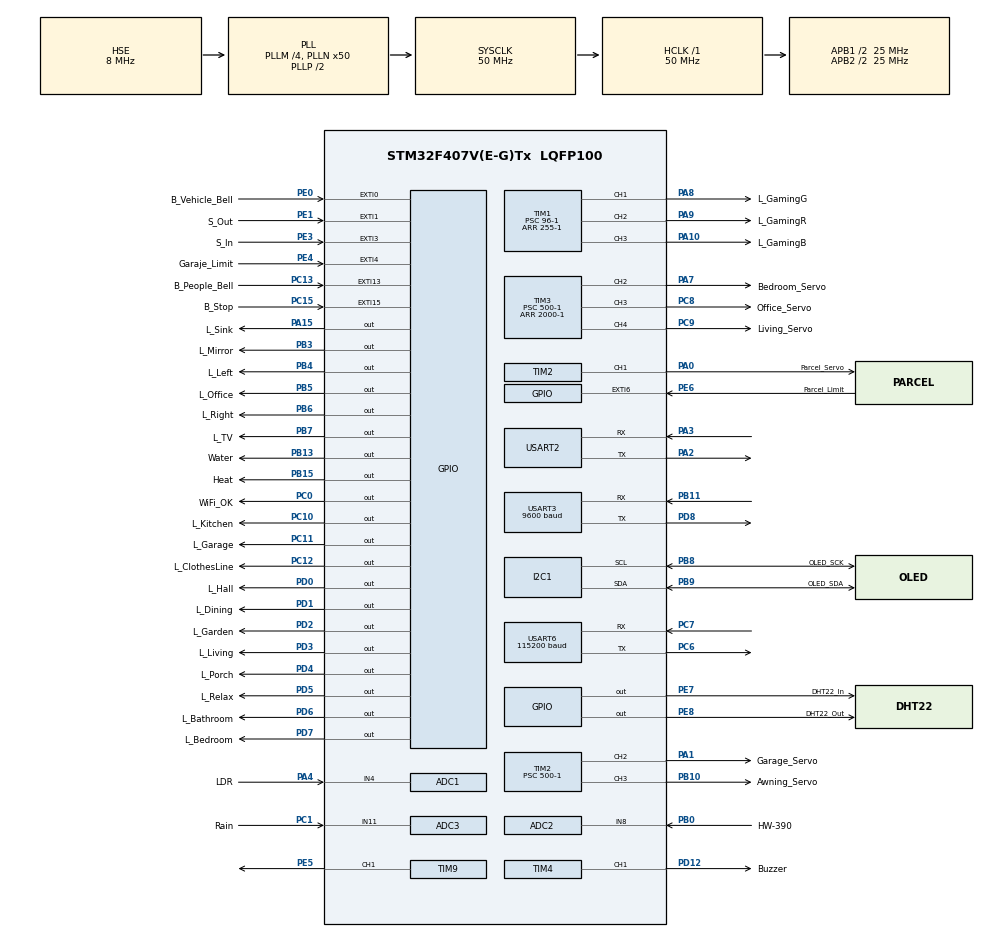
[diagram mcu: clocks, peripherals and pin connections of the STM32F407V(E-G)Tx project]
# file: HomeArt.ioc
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ADC1.Channel-1\#ChannelRegularConversion=ADC_CHANNEL_4
ADC1.ContinuousConvMode=ENABLE
ADC1.EOCSelection=ADC_EOC_SEQ_CONV
ADC1.NbrOfConversionFlag=1
ADC1.Rank-1\#ChannelRegularConversion=1
ADC1.Resolution=ADC_RESOLUTION_8B
ADC1.SamplingTime-1\#ChannelRegularConversion=ADC_SAMPLETIME_480CYCLES
ADC1.ScanConvMode=ENABLE
ADC1.master=1
ADC2.Channel-0\#ChannelRegularConversion=ADC_CHANNEL_8
ADC2.EOCSelection=ADC_EOC_SEQ_CONV
ADC2.NbrOfConversionFlag=1
ADC2.Rank-0\#ChannelRegularConversion=1
ADC2.Resolution=ADC_RESOLUTION_8B
ADC2.SamplingTime-0\#ChannelRegularConversion=ADC_SAMPLETIME_480CYCLES
ADC3.Channel-0\#ChannelRegularConversion=ADC_CHANNEL_11
ADC3.EOCSelection=ADC_EOC_SEQ_CONV
ADC3.NbrOfConversionFlag=1
ADC3.Rank-0\#ChannelRegularConversion=1
ADC3.Resolution=ADC_RESOLUTION_8B
ADC3.SamplingTime-0\#ChannelRegularConversion=ADC_SAMPLETIME_480CYCLES
I2C1.I2C_Mode=I2C_Fast
Mcu.Family=STM32F4
Mcu.Name=STM32F407V(E-G)Tx
Mcu.Package=LQFP100
NVIC.EXTI0_IRQn=true\:0\:0\:false\:false\:true\:true\:true
NVIC.EXTI15_10_IRQn=true\:0\:0\:false\:false\:true\:true\:true
NVIC.EXTI1_IRQn=true\:0\:0\:false\:false\:true\:true\:true
NVIC.EXTI3_IRQn=true\:0\:0\:false\:false\:true\:true\:true
NVIC.EXTI4_IRQn=true\:0\:0\:false\:false\:true\:true\:true
NVIC.EXTI9_5_IRQn=true\:0\:0\:false\:false\:true\:true\:true
NVIC.PriorityGroup=NVIC_PRIORITYGROUP_0
NVIC.USART2_IRQn=true\:0\:0\:false\:false\:true\:true\:true
NVIC.USART6_IRQn=true\:0\:0\:false\:false\:true\:true\:true
PA0-WKUP.GPIO_Label=Parcel_Servo
PA0-WKUP.Signal=S_TIM2_CH1_ETR
PA1.GPIO_Label=Garage_Servo
PA1.Signal=S_TIM2_CH2
PA10.GPIO_Label=L_GamingB
PA10.Signal=S_TIM1_CH3
PA13.Mode=Serial_Wire
PA13.Signal=SYS_JTMS-SWDIO
PA14.Mode=Serial_Wire
PA14.Signal=SYS_JTCK-SWCLK
PA15.GPIO_Label=L_Sink
PA15.Signal=GPIO_Output
PA2.Mode=Asynchronous
PA2.Signal=USART2_TX
PA3.Mode=Asynchronous
PA3.Signal=USART2_RX
PA4.GPIO_Label=LDR
PA4.Signal=ADCx_IN4
PA7.GPIO_Label=Bedroom_Servo
PA7.Signal=S_TIM3_CH2
PA8.GPIO_Label=L_GamingG
PA8.Signal=S_TIM1_CH1
PA9.GPIO_Label=L_GamingR
PA9.Signal=S_TIM1_CH2
PB0.GPIO_Label=HW-390
PB0.Signal=ADCx_IN8
PB10.GPIO_Label=Awning_Servo
PB10.Signal=S_TIM2_CH3
PB11.Mode=Asynchronous
PB11.Signal=USART3_RX
PB13.GPIO_Label=Water
PB13.Signal=GPIO_Output
PB15.GPIO_Label=Heat
PB15.Signal=GPIO_Output
PB3.GPIO_Label=L_Mirror
PB3.Signal=GPIO_Output
PB4.GPIO_Label=L_Left
PB4.Signal=GPIO_Output
PB5.GPIO_Label=L_Office
PB5.Signal=GPIO_Output
PB6.GPIO_Label=L_Right
PB6.Signal=GPIO_Output
PB7.GPIO_Label=L_TV
PB7.Signal=GPIO_Output
PB8.GPIO_Label=OLED_SCK
PB8.Mode=I2C
PB8.Signal=I2C1_SCL
PB9.GPIO_Label=OLED_SDA
PB9.Mode=I2C
PB9.Signal=I2C1_SDA
PC0.GPIO_Label=WiFi_OK
PC0.Signal=GPIO_Output
PC1.GPIO_Label=Rain
PC1.Signal=ADCx_IN11
PC10.GPIO_Label=L_Kitchen
PC10.Signal=GPIO_Output
PC11.GPIO_Label=L_Garage
PC11.Signal=GPIO_Output
PC12.GPIO_Label=L_ClothesLine
PC12.Signal=GPIO_Output
PC13-ANTI_TAMP.GPIO_Label=B_People_Bell
PC13-ANTI_TAMP.Signal=GPXTI13
PC15-OSC32_OUT.GPIO_Label=B_Stop
PC15-OSC32_OUT.Signal=GPXTI15
PC6.Mode=Asynchronous
PC6.Signal=USART6_TX
PC7.Mode=Asynchronous
PC7.Signal=USART6_RX
PC8.GPIO_Label=Office_Servo
PC8.Signal=S_TIM3_CH3
PC9.GPIO_Label=Living_Servo
PC9.Signal=S_TIM3_CH4
PD0.GPIO_Label=L_Hall
PD0.Signal=GPIO_Output
PD1.GPIO_Label=L_Dining
PD1.Signal=GPIO_Output
PD12.GPIO_Label=Buzzer
PD12.Signal=S_TIM4_CH1
PD2.GPIO_Label=L_Garden
PD2.Signal=GPIO_Output
PD3.GPIO_Label=L_Living
PD3.Signal=GPIO_Output
PD4.GPIO_Label=L_Porch
PD4.Signal=GPIO_Output
PD5.GPIO_Label=L_Relax
PD5.Signal=GPIO_Output
PD6.GPIO_Label=L_Bathroom
PD6.Signal=GPIO_Output
PD7.GPIO_Label=L_Bedroom
PD7.Signal=GPIO_Output
PD8.Mode=Asynchronous
PD8.Signal=USART3_TX
PE0.GPIO_Label=B_Vehicle_Bell
PE0.GPIO_ModeDefaultEXTI=GPIO_MODE_IT_RISING
PE0.GPIO_PuPd=GPIO_NOPULL
PE0.Signal=GPXTI0
PE1.GPIO_Label=S_Out
PE1.GPIO_ModeDefaultEXTI=GPIO_MODE_IT_FALLING
PE1.GPIO_PuPd=GPIO_PULLUP
PE1.Signal=GPXTI1
PE3.GPIO_Label=S_In
PE3.GPIO_ModeDefaultEXTI=GPIO_MODE_IT_FALLING
PE3.GPIO_PuPd=GPIO_PULLUP
PE3.Signal=GPXTI3
PE4.GPIO_Label=Garaje_Limit
PE4.GPIO_ModeDefaultEXTI=GPIO_MODE_IT_FALLING
PE4.GPIO_PuPd=GPIO_PULLUP
PE4.Signal=GPXTI4
PE5.Signal=S_TIM9_CH1
PE6.GPIO_Label=Parcel_Limit
PE6.GPIO_ModeDefaultEXTI=GPIO_MODE_IT_FALLING
PE6.GPIO_PuPd=GPIO_PULLUP
PE6.Signal=GPXTI6
PE7.GPIO_Label=DHT22_In
PE7.Signal=GPIO_Output
PE8.GPIO_Label=DHT22_Out
PE8.Signal=GPIO_Output
PH0-OSC_IN.Mode=HSE-External-Oscillator
PH0-OSC_IN.Signal=RCC_OSC_IN
PH1-OSC_OUT.Mode=HSE-External-Oscillator
PH1-OSC_OUT.Signal=RCC_OSC_OUT
ProjectManager.HeapSize=0x200
ProjectManager.StackSize=0x400
ProjectManager.TargetToolchain=STM32CubeIDE
RCC.48MHZClocksFreq_Value=14285714.285714285
RCC.AHBFreq_Value=50000000
RCC.APB1CLKDivider=RCC_HCLK_DIV2
RCC.APB1Freq_Value=25000000
RCC.APB1TimFreq_Value=50000000
RCC.APB2CLKDivider=RCC_HCLK_DIV2
RCC.APB2Freq_Value=25000000
RCC.APB2TimFreq_Value=50000000
RCC.CortexFreq_Value=50000000
RCC.HCLKFreq_Value=50000000
RCC.HSE_VALUE=8000000
RCC.HSI_VALUE=16000000
RCC.LSE_VALUE=32768
RCC.PLLM=4
RCC.PLLN=50
RCC.PLLQ=7
RCC.PLLSourceVirtual=RCC_PLLSOURCE_HSE
RCC.SYSCLKFreq_VALUE=50000000
RCC.SYSCLKSource=RCC_SYSCLKSOURCE_PLLCLK
RCC.VCOOutputFreq_Value=100000000
SH.ADCx_IN11.0=ADC3_IN11,IN11
SH.ADCx_IN4.0=ADC1_IN4,IN4
SH.ADCx_IN8.0=ADC2_IN8,IN8
SH.S_TIM1_CH1.0=TIM1_CH1,PWM Generation1 CH1
SH.S_TIM1_CH2.0=TIM1_CH2,PWM Generation2 CH2
SH.S_TIM1_CH3.0=TIM1_CH3,PWM Generation3 CH3
SH.S_TIM2_CH1_ETR.0=TIM2_CH1,PWM Generation1 CH1
SH.S_TIM2_CH2.0=TIM2_CH2,PWM Generation2 CH2
SH.S_TIM2_CH3.0=TIM2_CH3,PWM Generation3 CH3
SH.S_TIM3_CH2.0=TIM3_CH2,PWM Generation2 CH2
SH.S_TIM3_CH3.0=TIM3_CH3,PWM Generation3 CH3
SH.S_TIM3_CH4.0=TIM3_CH4,PWM Generation4 CH4
SH.S_TIM4_CH1.0=TIM4_CH1,PWM Generation1 CH1
SH.S_TIM9_CH1.0=TIM9_CH1,PWM Generation1 CH1
TIM1.Channel-PWM\ Generation1\ CH1=TIM_CHANNEL_1
TIM1.Channel-PWM\ Generation2\ CH2=TIM_CHANNEL_2
TIM1.Channel-PWM\ Generation3\ CH3=TIM_CHANNEL_3
TIM1.Period=255-1
TIM1.Prescaler=96-1
TIM2.Channel-PWM\ Generation1\ CH1=TIM_CHANNEL_1
TIM2.Channel-PWM\ Generation2\ CH2=TIM_CHANNEL_2
TIM2.Channel-PWM\ Generation3\ CH3=TIM_CHANNEL_3
TIM2.Period=2000-1
TIM2.Prescaler=500-1
TIM3.Channel-PWM\ Generation2\ CH2=TIM_CHANNEL_2
TIM3.Channel-PWM\ Generation3\ CH3=TIM_CHANNEL_3
TIM3.Channel-PWM\ Generation4\ CH4=TIM_CHANNEL_4
TIM3.Period=2000-1
TIM3.Prescaler=500-1
TIM4.Channel-PWM\ Generation1\ CH1=TIM_CHANNEL_1
TIM4.Period=20
TIM4.Prescaler=96-1
TIM5.Period=2000-1
TIM5.Prescaler=96-1
TIM6.Period=0xffff-1
TIM6.Prescaler=50-1
TIM9.Channel-PWM\ Generation1\ CH1=TIM_CHANNEL_1
TIM9.Period=2000-1
TIM9.Prescaler=500-1
USART2.VirtualMode=VM_ASYNC
USART3.BaudRate=9600
USART3.VirtualMode=VM_ASYNC
USART6.BaudRate=115200
USART6.VirtualMode=VM_ASYNC
VP_TIM1_VS_ClockSourceINT.Mode=Internal
VP_TIM2_VS_ClockSourceINT.Mode=Internal
VP_TIM3_VS_ClockSourceINT.Mode=Internal
VP_TIM4_VS_ClockSourceINT.Mode=Internal
VP_TIM5_VS_ClockSourceINT.Mode=Internal
VP_TIM6_VS_ClockSourceINT.Mode=Enable_Timer
VP_TIM8_VS_ClockSourceINT.Mode=Internal
VP_TIM9_VS_ClockSourceINT.Mode=Internal
board=STM32F407G-DISC1

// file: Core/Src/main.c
/* USER CODE BEGIN Header */
/**
  ******************************************************************************
  * @file           : main.c
  * @brief          : Main program body
  ******************************************************************************
  * @attention
  *
  * <h2><center>&copy; Copyright (c) 2022 STMicroelectronics.
  * All rights reserved.</center></h2>
  *
  * This software component is licensed by ST under Ultimate Liberty license
  * SLA0044, the "License"; You may not use this file except in compliance with
  * the License. You may obtain a copy of the License at:
  *                             www.st.com/SLA0044
  *
  *---------------------------------- HOMEART ----------------------------------
  *
  ******************************************************************************
  */
/* USER CODE END Header */
#include "main.h"

/* USER CODE BEGIN Includes */
#include "Buzzer.h"
#include "ESP8266_HAL.h"
#include "LED.h"
#include "RH.h"
#include "SG90.h"
#include "DHT22.h"
#include "Temperature.h"
#include "gfx.h"
#include "fonts.h"
#include "ssd1306.h"
#include "RFID.h"
#include "LDR.h"

/* USER CODE END Includes */

/* USER CODE BEGIN PD */
#define WiFi_UART &huart2
#define PC_UART &huart6
/* USER CODE END PD */

ADC_HandleTypeDef hadc1;
ADC_HandleTypeDef hadc2;
ADC_HandleTypeDef hadc3;

I2C_HandleTypeDef hi2c1;

TIM_HandleTypeDef htim1;
TIM_HandleTypeDef htim2;
TIM_HandleTypeDef htim3;
TIM_HandleTypeDef htim4;
TIM_HandleTypeDef htim5;
TIM_HandleTypeDef htim6;
TIM_HandleTypeDef htim8;
TIM_HandleTypeDef htim9;

UART_HandleTypeDef huart2;
UART_HandleTypeDef huart3;
UART_HandleTypeDef huart6;

/* USER CODE BEGIN PV */

volatile int doorbell = 0;
volatile int stop = 0;
volatile int inside = 0;
volatile int outside = 0;

volatile float f_on = 0; 		// Fan ON
volatile float f_off = 0; 		// Fan OFF
volatile float h_on = 0; 		// Heat ON
volatile float h_off = 0; 		// Heat OFF

volatile int rh_min = 0;
volatile int rh_max = 0;

volatile int awning = 0; 		// 1=unfolded 	0=folded
volatile int parcel = 0; 		// 1=opened 	0=closed
volatile int garage = 0; 		// 1=opened 	0=closed
volatile int office = 0; 		// 1=up 		0=down
volatile int bedroom = 0; 		// 1=up 		0=down

volatile int water = 0; 		// 1=on 		0=off
volatile int fan = 0; 			// 1=on 		0=off
volatile int heat = 0; 			// 1=on 		0=off

/*----------- Sensors -----------*/

// Brightness Sensor (LDR)
uint16_t LDR_value = 0;

// Hygrometer (HW-390)
uint16_t Hygro_read = 0;
uint16_t Hygro = 0;

// Rain Sensor
uint16_t Rain_read = 0;
uint16_t Rain = 0;

// Humidity and Temperature Sensor (outside, units, DHT22)
DHT22_DataTypedef DHT22_outside;
int TempOutside = 0;
int RHOutside = 0;

// Humidity and Temperature Sensor (inside, decimals, DHT22)
DHT22_DataTypedef DHT22_inside;
float TempInside = 0;
float RHInside = 0;

/* USER CODE END PV */

void SystemClock_Config(void);
static void MX_GPIO_Init(void);
static void MX_USART2_UART_Init(void);
static void MX_USART6_UART_Init(void);
static void MX_TIM5_Init(void);
static void MX_TIM1_Init(void);
static void MX_TIM4_Init(void);
static void MX_TIM2_Init(void);
static void MX_TIM3_Init(void);
static void MX_TIM8_Init(void);
static void MX_TIM9_Init(void);
static void MX_TIM6_Init(void);
static void MX_ADC1_Init(void);
static void MX_ADC2_Init(void);
static void MX_ADC3_Init(void);
static void MX_USART3_UART_Init(void);
static void MX_I2C1_Init(void);

/* USER CODE BEGIN 0 */

void HAL_GPIO_EXTI_Callback(uint16_t GPIO_Pin){

    if (GPIO_Pin==S_In_Pin)
    {
        inside = 1;
    }
    if (GPIO_Pin==S_Out_Pin)
    {
        outside = 1;
    }
}

int debouncer(volatile int* button_int, GPIO_TypeDef* GPIO_port, uint16_t GPIO_number){ // Bounce Control

	static uint8_t button_count=0;
	static int counter=0;

	if (*button_int==1)
	{
		if (button_count==0)
		{
			counter=HAL_GetTick();
			button_count++;
		}
		if (HAL_GetTick()-counter>=20)
		{
			counter=HAL_GetTick();
			if (HAL_GPIO_ReadPin(GPIO_port, GPIO_number)!=1)
			{
				button_count=1;
			}
			else
			{
				button_count++;
			}
			if (button_count==4 ) // Debounce Period
			{
				button_count=0;
				*button_int=0;
				return 1;
			}
		}
	}
	return 0;
}

/*----------- Delay (ms) -----------*/
void delay(uint16_t time){

	__HAL_TIM_SET_COUNTER(&htim6,0);
	while((__HAL_TIM_GET_COUNTER(&htim6))<time);
}

/* USER CODE END 0 */

int main(void)
{

  /* MCU Configuration--------------------------------------------------------*/

  /* Reset of all peripherals, Initializes the Flash interface and the Systick. */
  HAL_Init();

  /* Configure the system clock */
  SystemClock_Config();

  /* Initialize all configured peripherals */
  MX_GPIO_Init();
  MX_USART2_UART_Init();
  MX_USART6_UART_Init();
  MX_TIM5_Init();
  MX_TIM1_Init();
  MX_TIM4_Init();
  MX_TIM2_Init();
  MX_TIM3_Init();
  MX_TIM8_Init();
  MX_TIM9_Init();
  MX_TIM6_Init();
  MX_ADC1_Init();
  MX_ADC2_Init();
  MX_ADC3_Init();
  MX_USART3_UART_Init();
  MX_I2C1_Init();
  /* USER CODE BEGIN 2 */

  // RGB Gaming LED
  HAL_TIM_PWM_Start(&htim1, TIM_CHANNEL_1);
  HAL_TIM_PWM_Start(&htim1, TIM_CHANNEL_2);
  HAL_TIM_PWM_Start(&htim1, TIM_CHANNEL_3);

  // Parcel Servo
  HAL_TIM_PWM_Start(&htim2, TIM_CHANNEL_1);

  // Garage Servo
  HAL_TIM_PWM_Start(&htim2, TIM_CHANNEL_2);

  // Awning Servo
  HAL_TIM_PWM_Start(&htim2, TIM_CHANNEL_3);

  // Living Room Servo
  HAL_TIM_PWM_Start(&htim3, TIM_CHANNEL_4);

  // Bedroom Servo
  HAL_TIM_PWM_Start(&htim3, TIM_CHANNEL_2);

  // Office Servo
  HAL_TIM_PWM_Start(&htim3, TIM_CHANNEL_3);

  // Living Room DC Motor
  HAL_TIM_PWM_Start(&htim9, TIM_CHANNEL_1);

  // Buzzer
  HAL_TIM_PWM_Start(&htim4, TIM_CHANNEL_1);

  /*----------- DHT22 Sensor-----------*/
  HAL_TIM_Base_Start(&htim6);

  /*----------- LDR & HW390 & Rain Initialization  -----------*/
  HAL_ADC_Start(&hadc1); // LDR
  HAL_ADC_Start(&hadc2); // HW-390
  HAL_ADC_Start(&hadc3); // Rain

  //__HAL_UART_ENABLE_IT(&huart2, UART_IT_RXNE);
  ESP_Init("iPhone Carmela","pistacho");

  // OLED Thermostat
  oled_init(); // Initialize OLED

  // Frame
  line_h(0, 127, 1, 2, 1);
  line_h(0, 127, 30, 2, 1);
  line_v(0, 31, 1, 2, 1);
  line_v(0, 31, 127, 2, 1);

  // Line
  line_h(5, 122, 15, 1, 1);

  graphics_text(7, 5, FONT_SEVEN_DOT, "IN");
  graphics_text(7, 19, FONT_SEVEN_DOT, "OUT");

  oled_update(); // Update OLED

  /* USER CODE END 2 */

  /* Infinite loop */
  while (1){

    /* USER CODE BEGIN 3 */

	  	ESP_messageHandler();

		// Vehicle Doorbell
		if(HAL_GPIO_ReadPin(GPIOE, GPIO_PIN_0) == 0){

			//int known;
			//known = readRFID();
			if(readRFID() == 1){
				char kn[15] = "OPENING DOOR \n\n";
				HAL_UART_Transmit(&huart6, (uint8_t *) kn, 15, HAL_MAX_DELAY);

				actParcelRFID();
			}
			else if(readRFID() == 0){
				char unkn[19] = "CALLING THE BELL \n\n";
				HAL_UART_Transmit(&huart6, (uint8_t *) unkn, 19, HAL_MAX_DELAY);

				playBell();
			}
		}

		// People Doorbell
		if(HAL_GPIO_ReadPin(GPIOC, GPIO_PIN_13) == 0){

				playBell();
		}

		// Alarm Stop
		if(HAL_GPIO_ReadPin(GPIOC, GPIO_PIN_15) == 0){

			__HAL_TIM_SET_COMPARE(&htim4, TIM_CHANNEL_1, 0);
		}

		// Alarm
		if (debouncer(&inside, S_In_GPIO_Port, S_In_Pin)){

			if(vSecurity[0] == '1') playAlarm();
		}
		if (debouncer(&outside, S_Out_GPIO_Port, S_Out_Pin)){

			if(vSecurity[1] == '1') playAlarm();
		}

		// PARCEL DOOR (90)
		if(vWindow[0]=='1' || vOutside[4]=='1') __HAL_TIM_SET_COMPARE(&htim2, TIM_CHANNEL_1, 86);
		if(vWindow[0]=='0' || vOutside[4]=='0') __HAL_TIM_SET_COMPARE(&htim2, TIM_CHANNEL_1, 94);

		// GARAGE DOOR (90)
		if(vWindow[1]=='1' || vGarage[1] == '1') __HAL_TIM_SET_COMPARE(&htim2, TIM_CHANNEL_2, 92); // Faster at 30
		if(vWindow[1]=='0' || vGarage[1] == '0') __HAL_TIM_SET_COMPARE(&htim2, TIM_CHANNEL_2, 96);

		// PARCEL LIMIT SWITCH
		if(HAL_GPIO_ReadPin(GPIOE, GPIO_PIN_4) == 0){

			if (vWindow[0]=='1' || vOutside[4]=='1'){
				__HAL_TIM_SET_COMPARE(&htim2, TIM_CHANNEL_1, 94); // Parcel Servo
				HAL_Delay(200);
			}
			if (vWindow[0]=='0' || vOutside[4]=='0'){
				__HAL_TIM_SET_COMPARE(&htim2, TIM_CHANNEL_1, 86); // Parcel Servo
				HAL_Delay(200);
			}
			__HAL_TIM_SET_COMPARE(&htim2, TIM_CHANNEL_1, 90); // Parcel Servo
			vWindow[0]='x'; // Parcel Servo
			vOutside[4]='x'; // Parcel Servo
		}

		// GARAGE LIMIT SWITCH
		if(HAL_GPIO_ReadPin(GPIOE, GPIO_PIN_4) == 0){

			if (vWindow[1]=='1' || vGarage[1]=='1'){
				__HAL_TIM_SET_COMPARE(&htim2, TIM_CHANNEL_2, 96); // Garage Servo
				HAL_Delay(400);
			}
			if (vWindow[1]=='0' || vGarage[1]=='0'){
				__HAL_TIM_SET_COMPARE(&htim2, TIM_CHANNEL_2, 92); // Garage Servo
				HAL_Delay(400);
			}
			__HAL_TIM_SET_COMPARE(&htim2, TIM_CHANNEL_2, 94); // Garage Servo
			vWindow[1]='x'; // Garage Servo
			vGarage[1]='x'; // Garage Servo
		}

		// CLOTHES LINE AWNING (90)
		if(vOutside[0]=='1'){
			__HAL_TIM_SET_COMPARE(&htim2, TIM_CHANNEL_3, 91);
			HAL_Delay(1400);
			__HAL_TIM_SET_COMPARE(&htim2, TIM_CHANNEL_3, 90);
			awning = 1;
		}
		if(vOutside[0]=='0'){
			__HAL_TIM_SET_COMPARE(&htim2, TIM_CHANNEL_3, 88);
			HAL_Delay(1650);
			__HAL_TIM_SET_COMPARE(&htim2, TIM_CHANNEL_3, 90);
			awning = 0;
		}
		vOutside[0]='x';

		// LIVING ROOM WINDOW (90)
		/*if(vWindow[2]=='1' || vLiving[5]=='1') {
			__HAL_TIM_SET_COMPARE(&htim3, TIM_CHANNEL_4, 91);
			HAL_Delay(3000);
			__HAL_TIM_SET_COMPARE(&htim3, TIM_CHANNEL_4, 90);
		}
		if(vWindow[2]=='0'|| vLiving[5]=='0') {
			__HAL_TIM_SET_COMPARE(&htim3, TIM_CHANNEL_4, 89);
			HAL_Delay(3000);
			__HAL_TIM_SET_COMPARE(&htim3, TIM_CHANNEL_4, 90);
		}
		vWindow[2]='x';
		vLiving[5]='x';*/

		// BEDROOM WINDOW (90)
		if(vWindow[3]=='1' || vBedroom[3]=='1') {
			__HAL_TIM_SET_COMPARE(&htim3, TIM_CHANNEL_2, 94);// 92
			HAL_Delay(6000);
			__HAL_TIM_SET_COMPARE(&htim3, TIM_CHANNEL_2, 90);//90
		}
		if(vWindow[3]=='0' || vBedroom[3]=='0') {
			__HAL_TIM_SET_COMPARE(&htim3, TIM_CHANNEL_2, 86);// 89
			HAL_Delay(6000);
			__HAL_TIM_SET_COMPARE(&htim3, TIM_CHANNEL_2, 90);// 90
		}
		vWindow[3]='x';
		vBedroom[3]='x';

		// OFFICE WINDOW (90)
		if(vWindow[4]=='1' || vOffice[11]=='1') {
			__HAL_TIM_SET_COMPARE(&htim3, TIM_CHANNEL_3, 86);//91
			HAL_Delay(7000);
			__HAL_TIM_SET_COMPARE(&htim3, TIM_CHANNEL_3, 90);//90
		}
		if(vWindow[4]=='0' || vOffice[11]=='0') {
			__HAL_TIM_SET_COMPARE(&htim3, TIM_CHANNEL_3, 92);//88
			HAL_Delay(4500);
			__HAL_TIM_SET_COMPARE(&htim3, TIM_CHANNEL_3, 90);//90
		}
		vWindow[4]='x';
		vOffice[11]='x';

		// SETTINGS
		f_on = temp_value(vSettings[0], vSettings[1], vSettings[2]);
		f_off = temp_value(vSettings[3], vSettings[4], vSettings[5]);
		h_on = temp_value(vSettings[6], vSettings[7], vSettings[8]);
		h_off = temp_value(vSettings[9], vSettings[10], vSettings[11]);

		rh_min = rh_value(vSettings[12], vSettings[13]);
		rh_max = rh_value(vSettings[14], vSettings[15]);

		/*----------- Sensor Reading -----------*/

		// LDR
		if(HAL_ADC_PollForConversion(&hadc1, HAL_MAX_DELAY) == HAL_OK)
			LDR_value = HAL_ADC_GetValue(&hadc1);

		ldr(LDR_value);

		// Rain
		if(HAL_ADC_PollForConversion(&hadc3, HAL_MAX_DELAY) == HAL_OK)
			Rain_read = HAL_ADC_GetValue(&hadc3);

		Rain = 100 - ((100*Rain_read)/255);

		if(vOutside[5] == '1'){
			// There are clothes and it is raining (closed awning)
			if (Rain>5 && vOutside[6] == '1' && awning == 0){

				__HAL_TIM_SET_COMPARE(&htim2, TIM_CHANNEL_3, 91); // Open awning
				HAL_Delay(3000);
				__HAL_TIM_SET_COMPARE(&htim2, TIM_CHANNEL_3, 90);
				awning = 1;
			}

			// There are clothes and it is raining (opened awning)
			// There are not clothes and it is raining (closed awning)

			// There are not clothes and it is raining (opened awning)
			else if (Rain>5 && vOutside[6] == '0' && awning == 1){

				__HAL_TIM_SET_COMPARE(&htim2, TIM_CHANNEL_3, 88); // Close awning
				HAL_Delay(3000);
				__HAL_TIM_SET_COMPARE(&htim2, TIM_CHANNEL_3, 90);
				awning = 0;
			}

			// There are clothes and it is not raining (awning does not matter)
			// There are not clothes and it is not raining (awning does not matter)

			vOutside[0]='x';
		}

		// HW-390
		if(HAL_ADC_PollForConversion(&hadc2, HAL_MAX_DELAY) == HAL_OK)
			Hygro_read = HAL_ADC_GetValue(&hadc2);

		Hygro = 100 - ((100*Hygro_read)/255);

		/*if(vGarden[1] == '1'){
			// It is turned off and it do not reach the minimum RH or it is turned on and it do not reach the maximum RH
			if (((!HAL_GPIO_ReadPin(GPIOB, GPIO_PIN_13)) && (Hygro<rh_min)) || ((HAL_GPIO_ReadPin(GPIOB, GPIO_PIN_13)) && (Hygro<rh_max))){
				HAL_GPIO_WritePin(GPIOB, GPIO_PIN_13, SET); // Water
			}
			else HAL_GPIO_WritePin(GPIOB, GPIO_PIN_13, RESET); // Water
		}*/

		//DHT22
		if(readDHT != 0){

		  	// Inside
		  	DHT22_getData(&DHT22_inside);
		  	RHInside = DHT22_inside.Humidity;
		  	TempInside = DHT22_inside.Temperature;

		    int in_rh_unit = RHInside;
		    int in_rh_dec = (RHInside-in_rh_unit)*10;
		    char c_in_rh_unit[2];
		    char c_in_rh_dec[1];
		    itoa(in_rh_unit, c_in_rh_unit, 10);
		    itoa(in_rh_dec, c_in_rh_dec, 10);

		    int in_temp_unit = TempInside;
		    int in_temp_dec = (TempInside-in_temp_unit)*10;
		    char c_in_temp_unit[2];
		    char c_in_temp_dec[1];
		    itoa(in_temp_unit, c_in_temp_unit, 10);
		    itoa(in_temp_dec, c_in_temp_dec, 10);

		    clear();

		    // Frame
		    line_h(0, 127, 1, 2, 1);
		    line_h(0, 127, 30, 2, 1);
		    line_v(0, 31, 1, 2, 1);
		    line_v(0, 31, 127, 2, 1);

		    // Line
		    line_h(5, 122, 15, 1, 1);

		    graphics_text(7, 5, FONT_SEVEN_DOT, "IN");
		    graphics_text(7, 19, FONT_SEVEN_DOT, "OUT");

		    // Data
		    graphics_text(44, 6, FONT_SIX_DOT, "RH      .");
		    graphics_text(56, 6, FONT_SIX_DOT, c_in_rh_unit);
		    graphics_text(68, 6, FONT_SIX_DOT, c_in_rh_dec);
		    graphics_text(75, 6, FONT_SIX_DOT, "%");

		    graphics_text(90, 6, FONT_SIX_DOT, "T      .");
		    graphics_text(98, 6, FONT_SIX_DOT, c_in_temp_unit);
		    graphics_text(110, 6, FONT_SIX_DOT, c_in_temp_dec);
		    graphics_text(117, 6, FONT_SIX_DOT, "C");

			// Exterior
			DHT22_getData(&DHT22_outside);
		  	RHOutside = DHT22_outside.Humidity;
		  	TempOutside = DHT22_outside.Temperature;

		    int out_rh_unit = RHOutside;
		    char c_out_rh_unit[2];
		    itoa(out_rh_unit, c_out_rh_unit, 10);

		    int out_temp_unit = TempOutside;
		    char c_out_temp_unit[2];
		    itoa(out_temp_unit, c_out_temp_unit, 10);

		    graphics_text(44, 20, FONT_SIX_DOT, "RH      .0 %");
		    graphics_text(56, 20, FONT_SIX_DOT, c_out_rh_unit);

		    graphics_text(90, 20, FONT_SIX_DOT, "T      .0 C");
		    graphics_text(98, 20, FONT_SIX_DOT, c_out_temp_unit);

		    oled_update(); // Update OLED

		  	readDHT = 0;
		}

		if(vWeather[2] == '1'){
			// Fan is turned off and it reach the maximum temperature or it is turned off and it does not reach the minimum temperature
			if ((!fan && (TempInside>f_on)) || (fan && (TempInside>f_off))){
				__HAL_TIM_SET_COMPARE(&htim3, TIM_CHANNEL_4, 30); 	// Living Room Fan
				fan = 1;
			}
			else{
				__HAL_TIM_SET_COMPARE(&htim3, TIM_CHANNEL_4, 90); 	// Living Room Fan
				fan = 0;
			}

			// Heat is turned off and it does not reach the minimum temperature or it is turned on and it does not reach the maximum temperature
			if ((!heat && (TempInside<h_on)) || (heat && (TempInside<h_off))){
				HAL_GPIO_WritePin(GPIOB, GPIO_PIN_15, SET); 	// Heat
				heat = 1;
			}
			else{
				HAL_GPIO_WritePin(GPIOB, GPIO_PIN_15, RESET); 	// Heat
				heat = 0;
			}
		}

		if(vWeather[2] == '0'){
			if(vWeather[0] == '0'){
				__HAL_TIM_SET_COMPARE(&htim3, TIM_CHANNEL_4, 90);	// Fan
				fan = 0;
			}
			else if(vWeather[0] == '1'){
				__HAL_TIM_SET_COMPARE(&htim3, TIM_CHANNEL_4, 30);
				fan = 1;
			}

			if(vWeather[1] == '0'){
				HAL_GPIO_WritePin(GPIOB, GPIO_PIN_15, RESET);		// Heat
				heat = 0;
			}
			else if(vWeather[1] == '1'){
				HAL_GPIO_WritePin(GPIOB, GPIO_PIN_15, SET);
				heat = 1;
			}
		}
  }
  /* USER CODE END 3 */
}

void SystemClock_Config(void)
{
  RCC_OscInitTypeDef RCC_OscInitStruct = {0};
  RCC_ClkInitTypeDef RCC_ClkInitStruct = {0};

  /** Configure the main internal regulator output voltage
  */
  __HAL_RCC_PWR_CLK_ENABLE();
  __HAL_PWR_VOLTAGESCALING_CONFIG(PWR_REGULATOR_VOLTAGE_SCALE1);
  /** Initializes the RCC Oscillators according to the specified parameters
  * in the RCC_OscInitTypeDef structure.
  */
  RCC_OscInitStruct.OscillatorType = RCC_OSCILLATORTYPE_HSE;
  RCC_OscInitStruct.HSEState = RCC_HSE_ON;
  RCC_OscInitStruct.PLL.PLLState = RCC_PLL_ON;
  RCC_OscInitStruct.PLL.PLLSource = RCC_PLLSOURCE_HSE;
  RCC_OscInitStruct.PLL.PLLM = 4;
  RCC_OscInitStruct.PLL.PLLN = 50;
  RCC_OscInitStruct.PLL.PLLP = RCC_PLLP_DIV2;
  RCC_OscInitStruct.PLL.PLLQ = 7;
  if (HAL_RCC_OscConfig(&RCC_OscInitStruct) != HAL_OK)
  {
    Error_Handler();
  }
  /** Initializes the CPU, AHB and APB buses clocks
  */
  RCC_ClkInitStruct.ClockType = RCC_CLOCKTYPE_HCLK|RCC_CLOCKTYPE_SYSCLK
                              |RCC_CLOCKTYPE_PCLK1|RCC_CLOCKTYPE_PCLK2;
  RCC_ClkInitStruct.SYSCLKSource = RCC_SYSCLKSOURCE_PLLCLK;
  RCC_ClkInitStruct.AHBCLKDivider = RCC_SYSCLK_DIV1;
  RCC_ClkInitStruct.APB1CLKDivider = RCC_HCLK_DIV2;
  RCC_ClkInitStruct.APB2CLKDivider = RCC_HCLK_DIV2;

  if (HAL_RCC_ClockConfig(&RCC_ClkInitStruct, FLASH_LATENCY_1) != HAL_OK)
  {
    Error_Handler();
  }
}

static void MX_ADC1_Init(void)
{

  ADC_ChannelConfTypeDef sConfig = {0};

  /** Configure the global features of the ADC (Clock, Resolution, Data Alignment and number of conversion)
  */
  hadc1.Instance = ADC1;
  hadc1.Init.ClockPrescaler = ADC_CLOCK_SYNC_PCLK_DIV2;
  hadc1.Init.Resolution = ADC_RESOLUTION_8B;
  hadc1.Init.ScanConvMode = ENABLE;
  hadc1.Init.ContinuousConvMode = ENABLE;
  hadc1.Init.DiscontinuousConvMode = DISABLE;
  hadc1.Init.ExternalTrigConvEdge = ADC_EXTERNALTRIGCONVEDGE_NONE;
  hadc1.Init.ExternalTrigConv = ADC_SOFTWARE_START;
  hadc1.Init.DataAlign = ADC_DATAALIGN_RIGHT;
  hadc1.Init.NbrOfConversion = 1;
  hadc1.Init.DMAContinuousRequests = DISABLE;
  hadc1.Init.EOCSelection = ADC_EOC_SEQ_CONV;
  if (HAL_ADC_Init(&hadc1) != HAL_OK)
  {
    Error_Handler();
  }
  /** Configure for the selected ADC regular channel its corresponding rank in the sequencer and its sample time.
  */
  sConfig.Channel = ADC_CHANNEL_4;
  sConfig.Rank = 1;
  sConfig.SamplingTime = ADC_SAMPLETIME_480CYCLES;
  if (HAL_ADC_ConfigChannel(&hadc1, &sConfig) != HAL_OK)
  {
    Error_Handler();
  }

}

static void MX_ADC2_Init(void)
{

  ADC_ChannelConfTypeDef sConfig = {0};

  /** Configure the global features of the ADC (Clock, Resolution, Data Alignment and number of conversion)
  */
  hadc2.Instance = ADC2;
  hadc2.Init.ClockPrescaler = ADC_CLOCK_SYNC_PCLK_DIV2;
  hadc2.Init.Resolution = ADC_RESOLUTION_8B;
  hadc2.Init.ScanConvMode = DISABLE;
  hadc2.Init.ContinuousConvMode = ENABLE;
  hadc2.Init.DiscontinuousConvMode = DISABLE;
  hadc2.Init.ExternalTrigConvEdge = ADC_EXTERNALTRIGCONVEDGE_NONE;
  hadc2.Init.ExternalTrigConv = ADC_SOFTWARE_START;
  hadc2.Init.DataAlign = ADC_DATAALIGN_RIGHT;
  hadc2.Init.NbrOfConversion = 1;
  hadc2.Init.DMAContinuousRequests = DISABLE;
  hadc2.Init.EOCSelection = ADC_EOC_SEQ_CONV;
  if (HAL_ADC_Init(&hadc2) != HAL_OK)
  {
    Error_Handler();
  }
  /** Configure for the selected ADC regular channel its corresponding rank in the sequencer and its sample time.
  */
  sConfig.Channel = ADC_CHANNEL_8;
  sConfig.Rank = 1;
  sConfig.SamplingTime = ADC_SAMPLETIME_480CYCLES;
  if (HAL_ADC_ConfigChannel(&hadc2, &sConfig) != HAL_OK)
  {
    Error_Handler();
  }

}

static void MX_ADC3_Init(void)
{

  ADC_ChannelConfTypeDef sConfig = {0};

  /** Configure the global features of the ADC (Clock, Resolution, Data Alignment and number of conversion)
  */
  hadc3.Instance = ADC3;
  hadc3.Init.ClockPrescaler = ADC_CLOCK_SYNC_PCLK_DIV2;
  hadc3.Init.Resolution = ADC_RESOLUTION_8B;
  hadc3.Init.ScanConvMode = DISABLE;
  hadc3.Init.ContinuousConvMode = ENABLE;
  hadc3.Init.DiscontinuousConvMode = DISABLE;
  hadc3.Init.ExternalTrigConvEdge = ADC_EXTERNALTRIGCONVEDGE_NONE;
  hadc3.Init.ExternalTrigConv = ADC_SOFTWARE_START;
  hadc3.Init.DataAlign = ADC_DATAALIGN_RIGHT;
  hadc3.Init.NbrOfConversion = 1;
  hadc3.Init.DMAContinuousRequests = DISABLE;
  hadc3.Init.EOCSelection = ADC_EOC_SEQ_CONV;
  if (HAL_ADC_Init(&hadc3) != HAL_OK)
  {
    Error_Handler();
  }
  /** Configure for the selected ADC regular channel its corresponding rank in the sequencer and its sample time.
  */
  sConfig.Channel = ADC_CHANNEL_11;
  sConfig.Rank = 1;
  sConfig.SamplingTime = ADC_SAMPLETIME_480CYCLES;
  if (HAL_ADC_ConfigChannel(&hadc3, &sConfig) != HAL_OK)
  {
    Error_Handler();
  }

}

static void MX_I2C1_Init(void)
{

  hi2c1.Instance = I2C1;
  hi2c1.Init.ClockSpeed = 400000;
  hi2c1.Init.DutyCycle = I2C_DUTYCYCLE_2;
  hi2c1.Init.OwnAddress1 = 0;
  hi2c1.Init.AddressingMode = I2C_ADDRESSINGMODE_7BIT;
  hi2c1.Init.DualAddressMode = I2C_DUALADDRESS_DISABLE;
  hi2c1.Init.OwnAddress2 = 0;
  hi2c1.Init.GeneralCallMode = I2C_GENERALCALL_DISABLE;
  hi2c1.Init.NoStretchMode = I2C_NOSTRETCH_DISABLE;
  if (HAL_I2C_Init(&hi2c1) != HAL_OK)
  {
    Error_Handler();
  }

}

static void MX_TIM1_Init(void)
{

  TIM_ClockConfigTypeDef sClockSourceConfig = {0};
  TIM_MasterConfigTypeDef sMasterConfig = {0};
  TIM_OC_InitTypeDef sConfigOC = {0};
  TIM_BreakDeadTimeConfigTypeDef sBreakDeadTimeConfig = {0};

  htim1.Instance = TIM1;
  htim1.Init.Prescaler = 96-1;
  htim1.Init.CounterMode = TIM_COUNTERMODE_UP;
  htim1.Init.Period = 255-1;
  htim1.Init.ClockDivision = TIM_CLOCKDIVISION_DIV1;
  htim1.Init.RepetitionCounter = 0;
  htim1.Init.AutoReloadPreload = TIM_AUTORELOAD_PRELOAD_DISABLE;
  if (HAL_TIM_Base_Init(&htim1) != HAL_OK)
  {
    Error_Handler();
  }
  sClockSourceConfig.ClockSource = TIM_CLOCKSOURCE_INTERNAL;
  if (HAL_TIM_ConfigClockSource(&htim1, &sClockSourceConfig) != HAL_OK)
  {
    Error_Handler();
  }
  if (HAL_TIM_PWM_Init(&htim1) != HAL_OK)
  {
    Error_Handler();
  }
  sMasterConfig.MasterOutputTrigger = TIM_TRGO_RESET;
  sMasterConfig.MasterSlaveMode = TIM_MASTERSLAVEMODE_DISABLE;
  if (HAL_TIMEx_MasterConfigSynchronization(&htim1, &sMasterConfig) != HAL_OK)
  {
    Error_Handler();
  }
  sConfigOC.OCMode = TIM_OCMODE_PWM1;
  sConfigOC.Pulse = 0;
  sConfigOC.OCPolarity = TIM_OCPOLARITY_HIGH;
  sConfigOC.OCNPolarity = TIM_OCNPOLARITY_HIGH;
  sConfigOC.OCFastMode = TIM_OCFAST_DISABLE;
  sConfigOC.OCIdleState = TIM_OCIDLESTATE_RESET;
  sConfigOC.OCNIdleState = TIM_OCNIDLESTATE_RESET;
  if (HAL_TIM_PWM_ConfigChannel(&htim1, &sConfigOC, TIM_CHANNEL_1) != HAL_OK)
  {
    Error_Handler();
  }
  if (HAL_TIM_PWM_ConfigChannel(&htim1, &sConfigOC, TIM_CHANNEL_2) != HAL_OK)
  {
    Error_Handler();
  }
  if (HAL_TIM_PWM_ConfigChannel(&htim1, &sConfigOC, TIM_CHANNEL_3) != HAL_OK)
  {
    Error_Handler();
  }
  sBreakDeadTimeConfig.OffStateRunMode = TIM_OSSR_DISABLE;
  sBreakDeadTimeConfig.OffStateIDLEMode = TIM_OSSI_DISABLE;
  sBreakDeadTimeConfig.LockLevel = TIM_LOCKLEVEL_OFF;
  sBreakDeadTimeConfig.DeadTime = 0;
  sBreakDeadTimeConfig.BreakState = TIM_BREAK_DISABLE;
  sBreakDeadTimeConfig.BreakPolarity = TIM_BREAKPOLARITY_HIGH;
  sBreakDeadTimeConfig.AutomaticOutput = TIM_AUTOMATICOUTPUT_DISABLE;
  if (HAL_TIMEx_ConfigBreakDeadTime(&htim1, &sBreakDeadTimeConfig) != HAL_OK)
  {
    Error_Handler();
  }
  HAL_TIM_MspPostInit(&htim1);

}

static void MX_TIM2_Init(void)
{

  TIM_ClockConfigTypeDef sClockSourceConfig = {0};
  TIM_MasterConfigTypeDef sMasterConfig = {0};
  TIM_OC_InitTypeDef sConfigOC = {0};

  htim2.Instance = TIM2;
  htim2.Init.Prescaler = 500-1;
  htim2.Init.CounterMode = TIM_COUNTERMODE_UP;
  htim2.Init.Period = 2000-1;
  htim2.Init.ClockDivision = TIM_CLOCKDIVISION_DIV1;
  htim2.Init.AutoReloadPreload = TIM_AUTORELOAD_PRELOAD_DISABLE;
  if (HAL_TIM_Base_Init(&htim2) != HAL_OK)
  {
    Error_Handler();
  }
  sClockSourceConfig.ClockSource = TIM_CLOCKSOURCE_INTERNAL;
  if (HAL_TIM_ConfigClockSource(&htim2, &sClockSourceConfig) != HAL_OK)
  {
    Error_Handler();
  }
  if (HAL_TIM_PWM_Init(&htim2) != HAL_OK)
  {
    Error_Handler();
  }
  sMasterConfig.MasterOutputTrigger = TIM_TRGO_RESET;
  sMasterConfig.MasterSlaveMode = TIM_MASTERSLAVEMODE_DISABLE;
  if (HAL_TIMEx_MasterConfigSynchronization(&htim2, &sMasterConfig) != HAL_OK)
  {
    Error_Handler();
  }
  sConfigOC.OCMode = TIM_OCMODE_PWM1;
  sConfigOC.Pulse = 0;
  sConfigOC.OCPolarity = TIM_OCPOLARITY_HIGH;
  sConfigOC.OCFastMode = TIM_OCFAST_DISABLE;
  if (HAL_TIM_PWM_ConfigChannel(&htim2, &sConfigOC, TIM_CHANNEL_1) != HAL_OK)
  {
    Error_Handler();
  }
  if (HAL_TIM_PWM_ConfigChannel(&htim2, &sConfigOC, TIM_CHANNEL_2) != HAL_OK)
  {
    Error_Handler();
  }
  if (HAL_TIM_PWM_ConfigChannel(&htim2, &sConfigOC, TIM_CHANNEL_3) != HAL_OK)
  {
    Error_Handler();
  }
  HAL_TIM_MspPostInit(&htim2);

}

static void MX_TIM3_Init(void)
{

  TIM_ClockConfigTypeDef sClockSourceConfig = {0};
  TIM_MasterConfigTypeDef sMasterConfig = {0};
  TIM_OC_InitTypeDef sConfigOC = {0};

  htim3.Instance = TIM3;
  htim3.Init.Prescaler = 500-1;
  htim3.Init.CounterMode = TIM_COUNTERMODE_UP;
  htim3.Init.Period = 2000-1;
  htim3.Init.ClockDivision = TIM_CLOCKDIVISION_DIV1;
  htim3.Init.AutoReloadPreload = TIM_AUTORELOAD_PRELOAD_DISABLE;
  if (HAL_TIM_Base_Init(&htim3) != HAL_OK)
  {
    Error_Handler();
  }
  sClockSourceConfig.ClockSource = TIM_CLOCKSOURCE_INTERNAL;
  if (HAL_TIM_ConfigClockSource(&htim3, &sClockSourceConfig) != HAL_OK)
  {
    Error_Handler();
  }
  if (HAL_TIM_PWM_Init(&htim3) != HAL_OK)
  {
    Error_Handler();
  }
  sMasterConfig.MasterOutputTrigger = TIM_TRGO_RESET;
  sMasterConfig.MasterSlaveMode = TIM_MASTERSLAVEMODE_DISABLE;
  if (HAL_TIMEx_MasterConfigSynchronization(&htim3, &sMasterConfig) != HAL_OK)
  {
    Error_Handler();
  }
  sConfigOC.OCMode = TIM_OCMODE_PWM1;
  sConfigOC.Pulse = 0;
  sConfigOC.OCPolarity = TIM_OCPOLARITY_HIGH;
  sConfigOC.OCFastMode = TIM_OCFAST_DISABLE;
  if (HAL_TIM_PWM_ConfigChannel(&htim3, &sConfigOC, TIM_CHANNEL_2) != HAL_OK)
  {
    Error_Handler();
  }
  if (HAL_TIM_PWM_ConfigChannel(&htim3, &sConfigOC, TIM_CHANNEL_3) != HAL_OK)
  {
    Error_Handler();
  }
  if (HAL_TIM_PWM_ConfigChannel(&htim3, &sConfigOC, TIM_CHANNEL_4) != HAL_OK)
  {
    Error_Handler();
  }
  HAL_TIM_MspPostInit(&htim3);

}

static void MX_TIM4_Init(void)
{

  TIM_ClockConfigTypeDef sClockSourceConfig = {0};
  TIM_MasterConfigTypeDef sMasterConfig = {0};
  TIM_OC_InitTypeDef sConfigOC = {0};

  htim4.Instance = TIM4;
  htim4.Init.Prescaler = 96-1;
  htim4.Init.CounterMode = TIM_COUNTERMODE_UP;
  htim4.Init.Period = 20;
  htim4.Init.ClockDivision = TIM_CLOCKDIVISION_DIV1;
  htim4.Init.AutoReloadPreload = TIM_AUTORELOAD_PRELOAD_DISABLE;
  if (HAL_TIM_Base_Init(&htim4) != HAL_OK)
  {
    Error_Handler();
  }
  sClockSourceConfig.ClockSource = TIM_CLOCKSOURCE_INTERNAL;
  if (HAL_TIM_ConfigClockSource(&htim4, &sClockSourceConfig) != HAL_OK)
  {
    Error_Handler();
  }
  if (HAL_TIM_PWM_Init(&htim4) != HAL_OK)
  {
    Error_Handler();
  }
  sMasterConfig.MasterOutputTrigger = TIM_TRGO_RESET;
  sMasterConfig.MasterSlaveMode = TIM_MASTERSLAVEMODE_DISABLE;
  if (HAL_TIMEx_MasterConfigSynchronization(&htim4, &sMasterConfig) != HAL_OK)
  {
    Error_Handler();
  }
  sConfigOC.OCMode = TIM_OCMODE_PWM1;
  sConfigOC.Pulse = 0;
  sConfigOC.OCPolarity = TIM_OCPOLARITY_HIGH;
  sConfigOC.OCFastMode = TIM_OCFAST_DISABLE;
  if (HAL_TIM_PWM_ConfigChannel(&htim4, &sConfigOC, TIM_CHANNEL_1) != HAL_OK)
  {
    Error_Handler();
  }
  HAL_TIM_MspPostInit(&htim4);

}

static void MX_TIM5_Init(void)
{

  TIM_ClockConfigTypeDef sClockSourceConfig = {0};
  TIM_MasterConfigTypeDef sMasterConfig = {0};

  htim5.Instance = TIM5;
  htim5.Init.Prescaler = 96-1;
  htim5.Init.CounterMode = TIM_COUNTERMODE_UP;
  htim5.Init.Period = 2000-1;
  htim5.Init.ClockDivision = TIM_CLOCKDIVISION_DIV1;
  htim5.Init.AutoReloadPreload = TIM_AUTORELOAD_PRELOAD_DISABLE;
  if (HAL_TIM_Base_Init(&htim5) != HAL_OK)
  {
    Error_Handler();
  }
  sClockSourceConfig.ClockSource = TIM_CLOCKSOURCE_INTERNAL;
  if (HAL_TIM_ConfigClockSource(&htim5, &sClockSourceConfig) != HAL_OK)
  {
    Error_Handler();
  }
  sMasterConfig.MasterOutputTrigger = TIM_TRGO_RESET;
  sMasterConfig.MasterSlaveMode = TIM_MASTERSLAVEMODE_DISABLE;
  if (HAL_TIMEx_MasterConfigSynchronization(&htim5, &sMasterConfig) != HAL_OK)
  {
    Error_Handler();
  }

}

static void MX_TIM6_Init(void)
{

  TIM_MasterConfigTypeDef sMasterConfig = {0};

  htim6.Instance = TIM6;
  htim6.Init.Prescaler = 50-1;
  htim6.Init.CounterMode = TIM_COUNTERMODE_UP;
  htim6.Init.Period = 0xffff-1;
  htim6.Init.AutoReloadPreload = TIM_AUTORELOAD_PRELOAD_DISABLE;
  if (HAL_TIM_Base_Init(&htim6) != HAL_OK)
  {
    Error_Handler();
  }
  sMasterConfig.MasterOutputTrigger = TIM_TRGO_RESET;
  sMasterConfig.MasterSlaveMode = TIM_MASTERSLAVEMODE_DISABLE;
  if (HAL_TIMEx_MasterConfigSynchronization(&htim6, &sMasterConfig) != HAL_OK)
  {
    Error_Handler();
  }

}

static void MX_TIM8_Init(void)
{

  TIM_ClockConfigTypeDef sClockSourceConfig = {0};
  TIM_MasterConfigTypeDef sMasterConfig = {0};

  htim8.Instance = TIM8;
  htim8.Init.Prescaler = 0;
  htim8.Init.CounterMode = TIM_COUNTERMODE_UP;
  htim8.Init.Period = 65535;
  htim8.Init.ClockDivision = TIM_CLOCKDIVISION_DIV1;
  htim8.Init.RepetitionCounter = 0;
  htim8.Init.AutoReloadPreload = TIM_AUTORELOAD_PRELOAD_DISABLE;
  if (HAL_TIM_Base_Init(&htim8) != HAL_OK)
  {
    Error_Handler();
  }
  sClockSourceConfig.ClockSource = TIM_CLOCKSOURCE_INTERNAL;
  if (HAL_TIM_ConfigClockSource(&htim8, &sClockSourceConfig) != HAL_OK)
  {
    Error_Handler();
  }
  sMasterConfig.MasterOutputTrigger = TIM_TRGO_RESET;
  sMasterConfig.MasterSlaveMode = TIM_MASTERSLAVEMODE_DISABLE;
  if (HAL_TIMEx_MasterConfigSynchronization(&htim8, &sMasterConfig) != HAL_OK)
  {
    Error_Handler();
  }

}

static void MX_TIM9_Init(void)
{

  TIM_ClockConfigTypeDef sClockSourceConfig = {0};
  TIM_OC_InitTypeDef sConfigOC = {0};

  htim9.Instance = TIM9;
  htim9.Init.Prescaler = 500-1;
  htim9.Init.CounterMode = TIM_COUNTERMODE_UP;
  htim9.Init.Period = 2000-1;
  htim9.Init.ClockDivision = TIM_CLOCKDIVISION_DIV1;
  htim9.Init.AutoReloadPreload = TIM_AUTORELOAD_PRELOAD_DISABLE;
  if (HAL_TIM_Base_Init(&htim9) != HAL_OK)
  {
    Error_Handler();
  }
  sClockSourceConfig.ClockSource = TIM_CLOCKSOURCE_INTERNAL;
  if (HAL_TIM_ConfigClockSource(&htim9, &sClockSourceConfig) != HAL_OK)
  {
    Error_Handler();
  }
  if (HAL_TIM_PWM_Init(&htim9) != HAL_OK)
  {
    Error_Handler();
  }
  sConfigOC.OCMode = TIM_OCMODE_PWM1;
  sConfigOC.Pulse = 0;
  sConfigOC.OCPolarity = TIM_OCPOLARITY_HIGH;
  sConfigOC.OCFastMode = TIM_OCFAST_DISABLE;
  if (HAL_TIM_PWM_ConfigChannel(&htim9, &sConfigOC, TIM_CHANNEL_1) != HAL_OK)
  {
    Error_Handler();
  }
  HAL_TIM_MspPostInit(&htim9);

}

static void MX_USART2_UART_Init(void)
{

  huart2.Instance = USART2;
  huart2.Init.BaudRate = 115200;
  huart2.Init.WordLength = UART_WORDLENGTH_8B;
  huart2.Init.StopBits = UART_STOPBITS_1;
  huart2.Init.Parity = UART_PARITY_NONE;
  huart2.Init.Mode = UART_MODE_TX_RX;
  huart2.Init.HwFlowCtl = UART_HWCONTROL_NONE;
  huart2.Init.OverSampling = UART_OVERSAMPLING_16;
  if (HAL_UART_Init(&huart2) != HAL_OK)
  {
    Error_Handler();
  }

}

static void MX_USART3_UART_Init(void)
{

  huart3.Instance = USART3;
  huart3.Init.BaudRate = 9600;
  huart3.Init.WordLength = UART_WORDLENGTH_8B;
  huart3.Init.StopBits = UART_STOPBITS_1;
  huart3.Init.Parity = UART_PARITY_NONE;
  huart3.Init.Mode = UART_MODE_TX_RX;
  huart3.Init.HwFlowCtl = UART_HWCONTROL_NONE;
  huart3.Init.OverSampling = UART_OVERSAMPLING_16;
  if (HAL_UART_Init(&huart3) != HAL_OK)
  {
    Error_Handler();
  }

}

static void MX_USART6_UART_Init(void)
{

  huart6.Instance = USART6;
  huart6.Init.BaudRate = 115200;
  huart6.Init.WordLength = UART_WORDLENGTH_8B;
  huart6.Init.StopBits = UART_STOPBITS_1;
  huart6.Init.Parity = UART_PARITY_NONE;
  huart6.Init.Mode = UART_MODE_TX_RX;
  huart6.Init.HwFlowCtl = UART_HWCONTROL_NONE;
  huart6.Init.OverSampling = UART_OVERSAMPLING_16;
  if (HAL_UART_Init(&huart6) != HAL_OK)
  {
    Error_Handler();
  }

}

static void MX_GPIO_Init(void)
{
  GPIO_InitTypeDef GPIO_InitStruct = {0};

  /* GPIO Ports Clock Enable */
  __HAL_RCC_GPIOE_CLK_ENABLE();
  __HAL_RCC_GPIOC_CLK_ENABLE();
  __HAL_RCC_GPIOH_CLK_ENABLE();
  __HAL_RCC_GPIOA_CLK_ENABLE();
  __HAL_RCC_GPIOB_CLK_ENABLE();
  __HAL_RCC_GPIOD_CLK_ENABLE();

  /*Configure GPIO pin Output Level */
  HAL_GPIO_WritePin(GPIOC, WiFi_OK_Pin|L_Kitchen_Pin|L_Garage_Pin|L_ClothesLine_Pin, GPIO_PIN_RESET);

  /*Configure GPIO pin Output Level */
  HAL_GPIO_WritePin(GPIOE, DHT22_In_Pin|DHT22_Out_Pin, GPIO_PIN_RESET);

  /*Configure GPIO pin Output Level */
  HAL_GPIO_WritePin(GPIOB, Water_Pin|Heat_Pin|L_Mirror_Pin|L_Left_Pin
                          |L_Office_Pin|L_Right_Pin|L_TV_Pin, GPIO_PIN_RESET);

  /*Configure GPIO pin Output Level */
  HAL_GPIO_WritePin(L_Sink_GPIO_Port, L_Sink_Pin, GPIO_PIN_RESET);

  /*Configure GPIO pin Output Level */
  HAL_GPIO_WritePin(GPIOD, L_Hall_Pin|L_Dining_Pin|L_Garden_Pin|L_Living_Pin
                          |L_Porch_Pin|L_Relax_Pin|L_Bathroom_Pin|L_Bedroom_Pin, GPIO_PIN_RESET);

  /*Configure GPIO pins : S_In_Pin Garaje_Limit_Pin Parcel_Limit_Pin S_Out_Pin */
  GPIO_InitStruct.Pin = S_In_Pin|Garaje_Limit_Pin|Parcel_Limit_Pin|S_Out_Pin;
  GPIO_InitStruct.Mode = GPIO_MODE_IT_FALLING;
  GPIO_InitStruct.Pull = GPIO_PULLUP;
  HAL_GPIO_Init(GPIOE, &GPIO_InitStruct);

  /*Configure GPIO pins : B_People_Bell_Pin B_Stop_Pin */
  GPIO_InitStruct.Pin = B_People_Bell_Pin|B_Stop_Pin;
  GPIO_InitStruct.Mode = GPIO_MODE_IT_RISING;
  GPIO_InitStruct.Pull = GPIO_NOPULL;
  HAL_GPIO_Init(GPIOC, &GPIO_InitStruct);

  /*Configure GPIO pins : WiFi_OK_Pin L_Kitchen_Pin L_Garage_Pin L_ClothesLine_Pin */
  GPIO_InitStruct.Pin = WiFi_OK_Pin|L_Kitchen_Pin|L_Garage_Pin|L_ClothesLine_Pin;
  GPIO_InitStruct.Mode = GPIO_MODE_OUTPUT_PP;
  GPIO_InitStruct.Pull = GPIO_NOPULL;
  GPIO_InitStruct.Speed = GPIO_SPEED_FREQ_LOW;
  HAL_GPIO_Init(GPIOC, &GPIO_InitStruct);

  /*Configure GPIO pins : DHT22_In_Pin DHT22_Out_Pin */
  GPIO_InitStruct.Pin = DHT22_In_Pin|DHT22_Out_Pin;
  GPIO_InitStruct.Mode = GPIO_MODE_OUTPUT_PP;
  GPIO_InitStruct.Pull = GPIO_NOPULL;
  GPIO_InitStruct.Speed = GPIO_SPEED_FREQ_LOW;
  HAL_GPIO_Init(GPIOE, &GPIO_InitStruct);

  /*Configure GPIO pins : Water_Pin Heat_Pin L_Mirror_Pin L_Left_Pin
                           L_Office_Pin L_Right_Pin L_TV_Pin */
  GPIO_InitStruct.Pin = Water_Pin|Heat_Pin|L_Mirror_Pin|L_Left_Pin
                          |L_Office_Pin|L_Right_Pin|L_TV_Pin;
  GPIO_InitStruct.Mode = GPIO_MODE_OUTPUT_PP;
  GPIO_InitStruct.Pull = GPIO_NOPULL;
  GPIO_InitStruct.Speed = GPIO_SPEED_FREQ_LOW;
  HAL_GPIO_Init(GPIOB, &GPIO_InitStruct);

  /*Configure GPIO pin : L_Sink_Pin */
  GPIO_InitStruct.Pin = L_Sink_Pin;
  GPIO_InitStruct.Mode = GPIO_MODE_OUTPUT_PP;
  GPIO_InitStruct.Pull = GPIO_NOPULL;
  GPIO_InitStruct.Speed = GPIO_SPEED_FREQ_LOW;
  HAL_GPIO_Init(L_Sink_GPIO_Port, &GPIO_InitStruct);

  /*Configure GPIO pins : L_Hall_Pin L_Dining_Pin L_Garden_Pin L_Living_Pin
                           L_Porch_Pin L_Relax_Pin L_Bathroom_Pin L_Bedroom_Pin */
  GPIO_InitStruct.Pin = L_Hall_Pin|L_Dining_Pin|L_Garden_Pin|L_Living_Pin
                          |L_Porch_Pin|L_Relax_Pin|L_Bathroom_Pin|L_Bedroom_Pin;
  GPIO_InitStruct.Mode = GPIO_MODE_OUTPUT_PP;
  GPIO_InitStruct.Pull = GPIO_NOPULL;
  GPIO_InitStruct.Speed = GPIO_SPEED_FREQ_LOW;
  HAL_GPIO_Init(GPIOD, &GPIO_InitStruct);

  /*Configure GPIO pin : B_Vehicle_Bell_Pin */
  GPIO_InitStruct.Pin = B_Vehicle_Bell_Pin;
  GPIO_InitStruct.Mode = GPIO_MODE_IT_RISING;
  GPIO_InitStruct.Pull = GPIO_NOPULL;
  HAL_GPIO_Init(B_Vehicle_Bell_GPIO_Port, &GPIO_InitStruct);

  /* EXTI interrupt init*/
  HAL_NVIC_SetPriority(EXTI0_IRQn, 0, 0);
  HAL_NVIC_EnableIRQ(EXTI0_IRQn);

  HAL_NVIC_SetPriority(EXTI1_IRQn, 0, 0);
  HAL_NVIC_EnableIRQ(EXTI1_IRQn);

  HAL_NVIC_SetPriority(EXTI3_IRQn, 0, 0);
  HAL_NVIC_EnableIRQ(EXTI3_IRQn);

  HAL_NVIC_SetPriority(EXTI4_IRQn, 0, 0);
  HAL_NVIC_EnableIRQ(EXTI4_IRQn);

  HAL_NVIC_SetPriority(EXTI9_5_IRQn, 0, 0);
  HAL_NVIC_EnableIRQ(EXTI9_5_IRQn);

  HAL_NVIC_SetPriority(EXTI15_10_IRQn, 0, 0);
  HAL_NVIC_EnableIRQ(EXTI15_10_IRQn);

}

void Error_Handler(void)
{
  __disable_irq();
  while (1)
  {
  }
}

/************************ (C) COPYRIGHT STMicroelectronics *****END OF FILE****/
